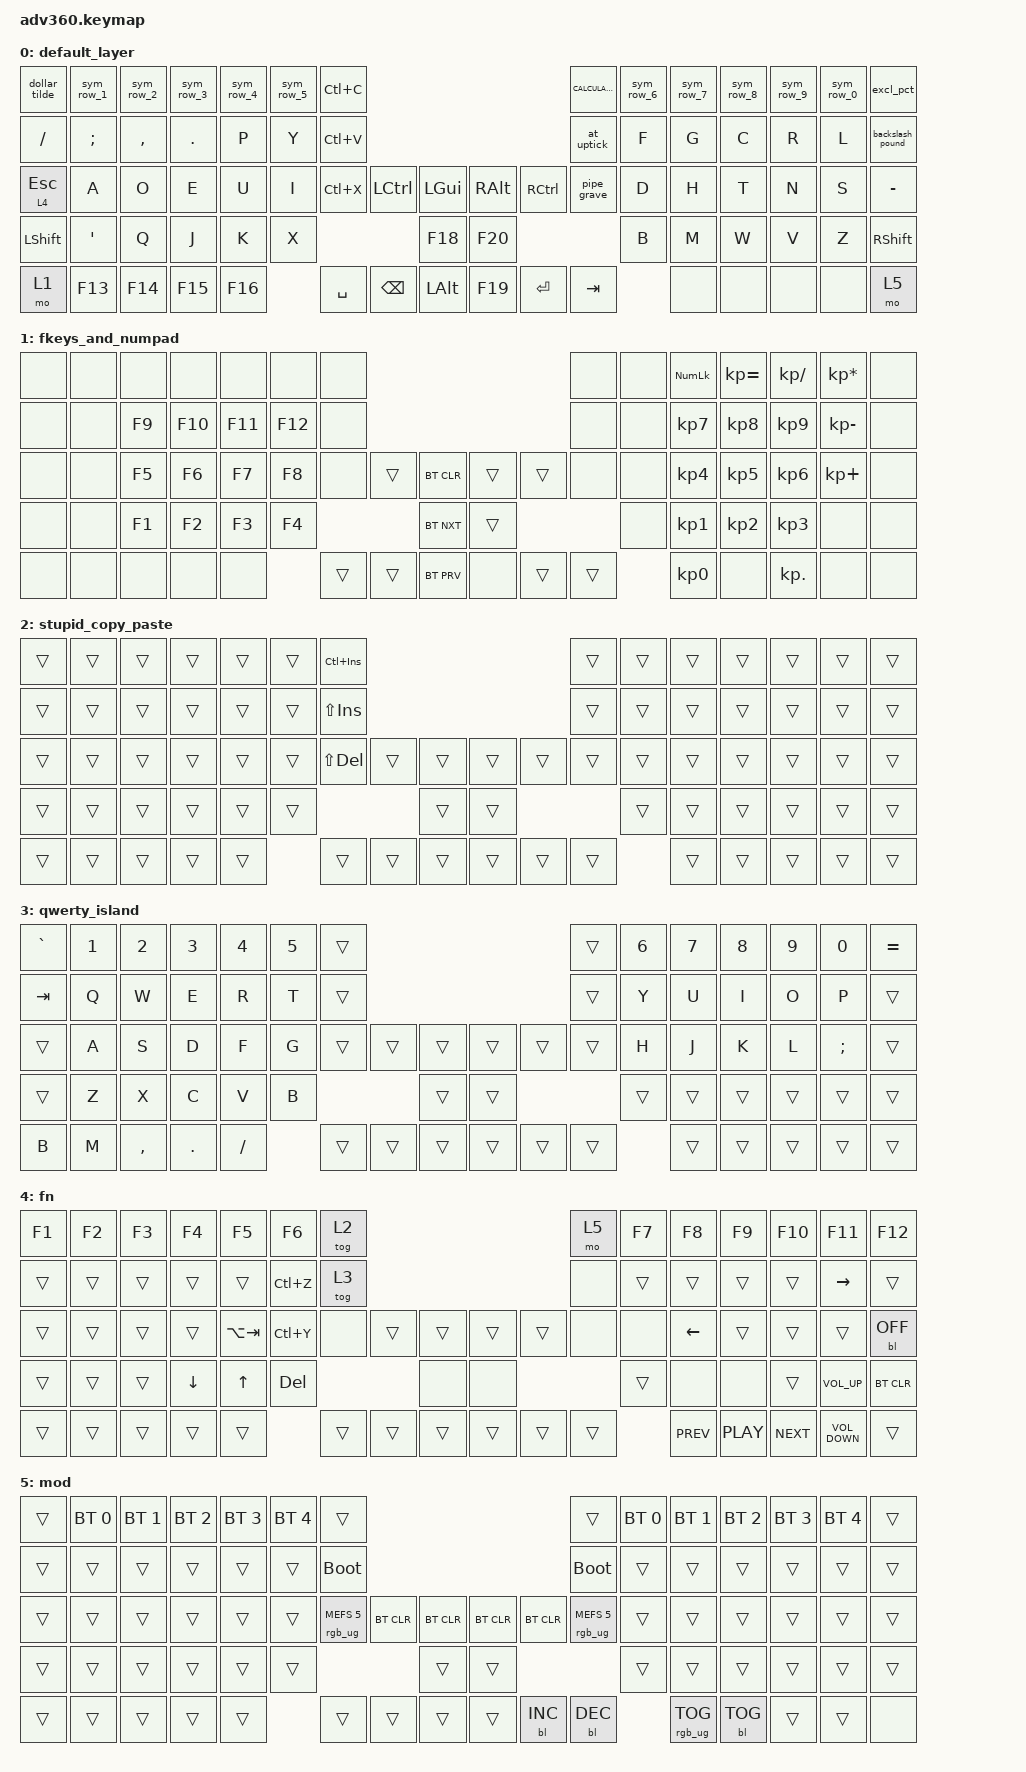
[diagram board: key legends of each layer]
#include <behaviors.dtsi>
#include <dt-bindings/zmk/backlight.h>
#include <dt-bindings/zmk/bt.h>
#include <dt-bindings/zmk/keys.h>
#include <dt-bindings/zmk/rgb.h>

/ {
    behaviors {
        #include "macros.dtsi"

        sym_row_1: sym_row_1 {
            compatible = "zmk,behavior-mod-morph";
            label = "SYM_ROW_1";
            bindings = <&kp PLUS>, <&kp NUMBER_1>;

            #binding-cells = <0>;
            mods = <(MOD_LSFT|MOD_RSFT)>;
            keep-mods = <(MOD_LCTL|MOD_LALT|MOD_LGUI|MOD_RCTL|MOD_RALT|MOD_RGUI)>;
        };

        sym_row_2: sym_row_2 {
            compatible = "zmk,behavior-mod-morph";
            label = "SYM_ROW_2";
            bindings = <&kp LEFT_BRACKET>, <&kp NUMBER_2>;

            #binding-cells = <0>;
            mods = <(MOD_LSFT|MOD_RSFT)>;
            keep-mods = <(MOD_LCTL|MOD_LALT|MOD_LGUI|MOD_RCTL|MOD_RALT|MOD_RGUI)>;
        };

        sym_row_3: sym_row_3 {
            compatible = "zmk,behavior-mod-morph";
            label = "SYM_ROW_3";
            bindings = <&kp LEFT_BRACE>, <&kp NUMBER_3>;

            #binding-cells = <0>;
            mods = <(MOD_LSFT|MOD_RSFT)>;
            keep-mods = <(MOD_LCTL|MOD_LALT|MOD_LGUI|MOD_RCTL|MOD_RALT|MOD_RGUI)>;
        };

        sym_row_5: sym_row_5 {
            compatible = "zmk,behavior-mod-morph";
            label = "SYM_ROW_5";
            bindings = <&kp AMPERSAND>, <&kp N5>;

            #binding-cells = <0>;
            mods = <(MOD_LSFT|MOD_RSFT)>;
            keep-mods = <(MOD_LCTL|MOD_LALT|MOD_LGUI|MOD_RCTL|MOD_RALT|MOD_RGUI)>;
        };

        sym_row_6: sym_row_6 {
            compatible = "zmk,behavior-mod-morph";
            label = "SYM_ROW_6";
            bindings = <&kp EQUAL>, <&kp NUMBER_6>;

            #binding-cells = <0>;
            mods = <(MOD_LSFT|MOD_RSFT)>;
            keep-mods = <(MOD_LCTL|MOD_LALT|MOD_LGUI|MOD_RCTL|MOD_RALT|MOD_RGUI)>;
        };

        sym_row_7: sym_row_7 {
            compatible = "zmk,behavior-mod-morph";
            label = "SYM_ROW_7";
            bindings = <&kp RIGHT_PARENTHESIS>, <&kp NUMBER_7>;

            #binding-cells = <0>;
            mods = <(MOD_LSFT|MOD_RSFT)>;
            keep-mods = <(MOD_LCTL|MOD_LALT|MOD_LGUI|MOD_RCTL|MOD_RALT|MOD_RGUI)>;
        };

        sym_row_8: sym_row_8 {
            compatible = "zmk,behavior-mod-morph";
            label = "SYM_ROW_8";
            bindings = <&kp RIGHT_BRACE>, <&kp NUMBER_8>;

            #binding-cells = <0>;
            mods = <(MOD_LSFT|MOD_RSFT)>;
            keep-mods = <(MOD_LCTL|MOD_LALT|MOD_LGUI|MOD_RCTL|MOD_RALT|MOD_RGUI)>;
        };

        sym_row_9: sym_row_9 {
            compatible = "zmk,behavior-mod-morph";
            label = "SYM_ROW_9";
            bindings = <&kp RIGHT_BRACKET>, <&kp NUMBER_9>;

            #binding-cells = <0>;
            mods = <(MOD_LSFT|MOD_RSFT)>;
            keep-mods = <(MOD_LCTL|MOD_LALT|MOD_LGUI|MOD_RCTL|MOD_RALT|MOD_RGUI)>;
        };

        sym_row_0: sym_row_0 {
            compatible = "zmk,behavior-mod-morph";
            label = "SYM_ROW_0";
            bindings = <&kp ASTRK>, <&kp NUMBER_0>;

            #binding-cells = <0>;
            mods = <(MOD_LSFT|MOD_RSFT)>;
            keep-mods = <(MOD_LCTL|MOD_LALT|MOD_LGUI|MOD_RCTL|MOD_RALT|MOD_RGUI)>;
        };

        backslash_pound: backslash_pound {
            compatible = "zmk,behavior-mod-morph";
            label = "BACKSLASH_POUND";
            bindings = <&kp BACKSLASH>, <&kp HASH>;

            #binding-cells = <0>;
            mods = <(MOD_LSFT|MOD_RSFT)>;
            keep-mods = <(MOD_LCTL|MOD_LALT|MOD_LGUI|MOD_RCTL|MOD_RALT|MOD_RGUI)>;
        };

        excl_pct: excl_pct {
            compatible = "zmk,behavior-mod-morph";
            label = "EXCL_PCT";
            bindings = <&kp EXCLAMATION>, <&kp PERCENT>;

            #binding-cells = <0>;
            mods = <(MOD_LSFT|MOD_RSFT)>;
            keep-mods = <(MOD_LCTL|MOD_LALT|MOD_LGUI|MOD_RCTL|MOD_RALT|MOD_RGUI)>;
        };

        at_uptick: at_uptick {
            compatible = "zmk,behavior-mod-morph";
            label = "AT_UPTICK";
            bindings = <&kp AT_SIGN>, <&kp CARET>;

            #binding-cells = <0>;
            mods = <(MOD_LSFT|MOD_RSFT)>;
            keep-mods = <(MOD_LCTL|MOD_LALT|MOD_LGUI|MOD_RCTL|MOD_RALT|MOD_RGUI)>;
        };

        pipe_grave: pipe_grave {
            compatible = "zmk,behavior-mod-morph";
            label = "PIPE_GRAVE";
            bindings = <&kp PIPE>, <&kp GRAVE>;

            #binding-cells = <0>;
            mods = <(MOD_LSFT|MOD_RSFT)>;
            keep-mods = <(MOD_LCTL|MOD_LALT|MOD_LGUI|MOD_RCTL|MOD_RALT|MOD_RGUI)>;
        };

        dollar_tilde: dollar_tilde {
            compatible = "zmk,behavior-mod-morph";
            label = "DOLLAR_TILDE";
            bindings = <&kp DOLLAR>, <&kp TILDE>;

            #binding-cells = <0>;
            mods = <(MOD_LSFT|MOD_RSFT)>;
            keep-mods = <(MOD_LCTL|MOD_LALT|MOD_LGUI|MOD_RCTL|MOD_RALT|MOD_RGUI)>;
        };

        sym_row_4: sym_row_4 {
            compatible = "zmk,behavior-mod-morph";
            label = "SYM_ROW_4";
            bindings = <&kp LEFT_PARENTHESIS>, <&kp NUMBER_4>;

            #binding-cells = <0>;
            mods = <(MOD_LSFT|MOD_RSFT)>;
            keep-mods = <(MOD_LCTL|MOD_LALT|MOD_LGUI|MOD_RCTL|MOD_RALT|MOD_RGUI)>;
        };
    };

    combos {
        compatible = "zmk,combos";

        caps_word {
            bindings = <&caps_word>;
            key-positions = <46 59>;
        };
    };

    keymap {
        compatible = "zmk,keymap";

        default_layer {
            bindings = <
&dollar_tilde  &sym_row_1     &sym_row_2  &sym_row_3  &sym_row_4  &sym_row_5  &kp LC(C)                                                             &kp K_CALCULATOR  &sym_row_6  &sym_row_7  &sym_row_8  &sym_row_9  &sym_row_0  &excl_pct
&kp SLASH      &kp SEMICOLON  &kp COMMA   &kp PERIOD  &kp P       &kp Y       &kp LC(V)                                                             &at_uptick        &kp F       &kp G       &kp C       &kp R       &kp L       &backslash_pound
&lt 4 ESCAPE   &kp A          &kp O       &kp E       &kp U       &kp I       &kp LC(X)  &kp LCTRL      &kp LEFT_GUI      &kp RIGHT_ALT  &kp RCTRL  &pipe_grave       &kp D       &kp H       &kp T       &kp N       &kp S       &kp MINUS
&kp LSHFT      &kp SQT        &kp Q       &kp J       &kp K       &kp X                                 &kp F18           &kp F20                                     &kp B       &kp M       &kp W       &kp V       &kp Z       &kp RIGHT_SHIFT
&mo 1          &kp F13        &kp F14     &kp F15     &kp F16                 &kp SPACE  &kp BACKSPACE  &kp LEFT_ALT      &kp F19        &kp ENTER  &kp TAB                       &none       &none       &none       &none       &mo 5
            >;
        };

        fkeys_and_numpad {
            bindings = <
&none  &none  &none   &none    &none    &none    &none                                           &none   &none  &kp KP_NUM       &kp KP_EQUAL     &kp KP_DIVIDE    &kp KP_MULTIPLY  &none
&none  &none  &kp F9  &kp F10  &kp F11  &kp F12  &none                                           &none   &none  &kp KP_NUMBER_7  &kp KP_NUMBER_8  &kp KP_NUMBER_9  &kp KP_MINUS     &none
&none  &none  &kp F5  &kp F6   &kp F7   &kp F8   &none   &trans  &bt BT_CLR      &trans  &trans  &none   &none  &kp KP_NUMBER_4  &kp KP_NUMBER_5  &kp KP_NUMBER_6  &kp KP_PLUS      &none
&none  &none  &kp F1  &kp F2   &kp F3   &kp F4                   &bt BT_NXT      &trans                  &none  &kp KP_NUMBER_1  &kp KP_NUMBER_2  &kp KP_NUMBER_3  &none            &none
&none  &none  &none   &none    &none             &trans  &trans  &bt BT_PRV      &none   &trans  &trans         &kp KP_NUMBER_0  &none            &kp KP_DOT       &none            &none
            >;
        };

        stupid_copy_paste {
            bindings = <
&trans  &trans  &trans  &trans  &trans  &trans  &kp LC(INSERT)                                      &trans  &trans  &trans  &trans  &trans  &trans  &trans
&trans  &trans  &trans  &trans  &trans  &trans  &kp LS(INSERT)                                      &trans  &trans  &trans  &trans  &trans  &trans  &trans
&trans  &trans  &trans  &trans  &trans  &trans  &kp LS(DELETE)  &trans  &trans      &trans  &trans  &trans  &trans  &trans  &trans  &trans  &trans  &trans
&trans  &trans  &trans  &trans  &trans  &trans                          &trans      &trans                  &trans  &trans  &trans  &trans  &trans  &trans
&trans  &trans  &trans  &trans  &trans          &trans          &trans  &trans      &trans  &trans  &trans          &trans  &trans  &trans  &trans  &trans
            >;
        };

        qwerty_island {
            bindings = <
&kp GRAVE  &kp N1  &kp N2     &kp N3   &kp N4    &kp N5  &trans                                      &trans  &kp N6  &kp N7  &kp N8  &kp N9  &kp N0    &kp EQUAL
&kp TAB    &kp Q   &kp W      &kp E    &kp R     &kp T   &trans                                      &trans  &kp Y   &kp U   &kp I   &kp O   &kp P     &trans
&trans     &kp A   &kp S      &kp D    &kp F     &kp G   &trans  &trans  &trans      &trans  &trans  &trans  &kp H   &kp J   &kp K   &kp L   &kp SEMI  &trans
&trans     &kp Z   &kp X      &kp C    &kp V     &kp B                   &trans      &trans                  &trans  &trans  &trans  &trans  &trans    &trans
&kp B      &kp M   &kp COMMA  &kp DOT  &kp FSLH          &trans  &trans  &trans      &trans  &trans  &trans          &trans  &trans  &trans  &trans    &trans
            >;
        };

        fn {
            bindings = <
&kp F1  &kp F2  &kp F3  &kp F4    &kp F5        &kp F6      &tog 2                                      &mo 5   &kp F7  &kp F8      &kp F9      &kp F10     &kp F11            &kp F12
&trans  &trans  &trans  &trans    &trans        &kp LC(Z)   &tog 3                                      &none   &trans  &trans      &trans      &trans      &kp RIGHT          &trans
&trans  &trans  &trans  &trans    &kp LA(TAB)   &kp LC(Y)   &none   &trans  &trans      &trans  &trans  &none   &none   &kp LEFT    &trans      &trans      &trans             &bl BL_OFF
&trans  &trans  &trans  &kp DOWN  &kp UP_ARROW  &kp DELETE                  &none       &none                   &trans  &none       &none       &trans      &kp C_VOLUME_UP    &bt BT_CLR
&trans  &trans  &trans  &trans    &trans                    &trans  &trans  &trans      &trans  &trans  &trans          &kp C_PREV  &kp C_PLAY  &kp C_NEXT  &kp C_VOLUME_DOWN  &trans
            >;
        };

        mod {
            bindings = <
&trans  &bt BT_SEL 0  &bt BT_SEL 1  &bt BT_SEL 2  &bt BT_SEL 3  &bt BT_SEL 4  &trans                                                                      &trans                  &bt BT_SEL 0  &bt BT_SEL 1     &bt BT_SEL 2  &bt BT_SEL 3  &bt BT_SEL 4  &trans
&trans  &trans        &trans        &trans        &trans        &trans        &bootloader                                                                 &bootloader             &trans        &trans           &trans        &trans        &trans        &trans
&trans  &trans        &trans        &trans        &trans        &trans        &rgb_ug RGB_MEFS_CMD 5  &bt BT_CLR  &bt BT_CLR      &bt BT_CLR  &bt BT_CLR  &rgb_ug RGB_MEFS_CMD 5  &trans        &trans           &trans        &trans        &trans        &trans
&trans  &trans        &trans        &trans        &trans        &trans                                            &trans          &trans                                          &trans        &trans           &trans        &trans        &trans        &trans
&trans  &trans        &trans        &trans        &trans                      &trans                  &trans      &trans          &trans      &bl BL_INC  &bl BL_DEC                            &rgb_ug RGB_TOG  &bl BL_TOG    &trans        &trans        &none
            >;
        };
    };
};
